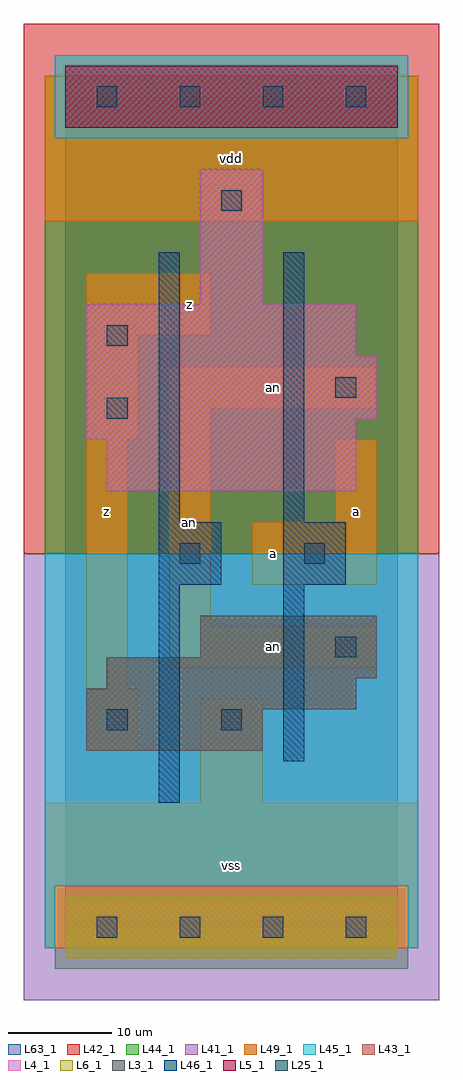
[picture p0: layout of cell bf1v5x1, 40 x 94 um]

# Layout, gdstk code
import gdstk
lib = gdstk.Library(unit=1e-6, precision=1e-09)
def R(c, l, rs):  # rectangles x0, y0, x1, y1
    for r in rs: c.add(gdstk.rectangle(r[:2], r[2:], *l))
def A(c, l, x, y, w, h, nx, ny, dx, dy):  # array of equal rectangles
    R(c, l, [(x+i*dx, y+j*dy, x+i*dx+w, y+j*dy+h) for i in range(nx) for j in range(ny)])
L3_1 = (3, 1)
L4_1 = (4, 1)
L5_1 = (5, 1)
L6_1 = (6, 1)
L25_1 = (25, 1)
L41_1 = (41, 1)
L42_1 = (42, 1)
L43_1 = (43, 1)
L44_1 = (44, 1)
L45_1 = (45, 1)
L46_1 = (46, 1)
L49_1 = (49, 1)
L63_1 = (63, 1)

bf1v5x1 = lib.new_cell('bf1v5x1')
R(bf1v5x1, L3_1, [(2,17,19,21), (2,21,28,23), (4,23,28,24), (4,24,30,26), (13,26,30,30)])
R(bf1v5x1, L4_1, [(4,42,28,47), (2,47,28,49), (2,49,30,55), (2,55,28,60), (13,60,19,73)])
R(bf1v5x1, L5_1, [(0,77,32,83)])
R(bf1v5x1, L6_1, [(0,-3,32,3), (0,-3,32,3)])
A(bf1v5x1, L25_1, 3, -1, 2, 2, 4, 2, 8, 80)
R(bf1v5x1, L25_1, [(4,19,6,21), (15,19,17,21), (26,26,28,28), (11,35,13,37), (23,35,25,37), (4,49,6,51), (26,51,28,53), (4,56,6,58), (15,69,17,71)])
R(bf1v5x1, L41_1, [(-4,-7,36,36)])
R(bf1v5x1, L42_1, [(-4,36,36,87)])
R(bf1v5x1, L43_1, [(0,-3,32,3), (2,17,19,21), (2,21,28,23), (4,23,28,24), (4,24,30,26), (13,26,30,30), (4,42,28,47), (2,47,28,49), (2,49,30,55), (2,55,28,60), (13,60,19,73), (0,77,32,83)])
R(bf1v5x1, L44_1, [(-1,-4,33,4), (-2,36,34,76), (-2,76,-1,82), (33,76,34,82)])
R(bf1v5x1, L45_1, [(-2,-2,-1,4), (33,-2,34,4), (-2,4,34,36), (-1,76,33,84)])
R(bf1v5x1, L46_1, [(9,12,11,33), (21,16,23,33), (9,33,15,39), (21,33,27,39), (9,39,11,65), (21,39,23,65)])
R(bf1v5x1, L49_1, [(-2,-2,34,12), (13,12,19,22), (2,17,7,23), (2,23,6,47), (10,25,30,29), (10,29,14,50), (18,33,30,39), (26,39,30,47), (2,47,7,57), (10,50,30,54), (2,57,14,63), (-2,68,34,82)])
R(bf1v5x1, L63_1, [(0,0,32,80)])
bf1v5x1.add(gdstk.Label('z', (4,40), layer=49, texttype=1))
bf1v5x1.add(gdstk.Label('an', (12,39), layer=49, texttype=1))
bf1v5x1.add(gdstk.Label('z', (12,60), layer=49, texttype=1))
bf1v5x1.add(gdstk.Label('vss', (16,6), layer=49, texttype=1))
bf1v5x1.add(gdstk.Label('a', (20,36), layer=49, texttype=1))
bf1v5x1.add(gdstk.Label('vdd', (16,74), layer=49, texttype=1))
bf1v5x1.add(gdstk.Label('an', (20,27), layer=49, texttype=1))
bf1v5x1.add(gdstk.Label('a', (28,40), layer=49, texttype=1))
bf1v5x1.add(gdstk.Label('an', (20,52), layer=49, texttype=1))

lib.write_gds('bf1v5x1.gds')
